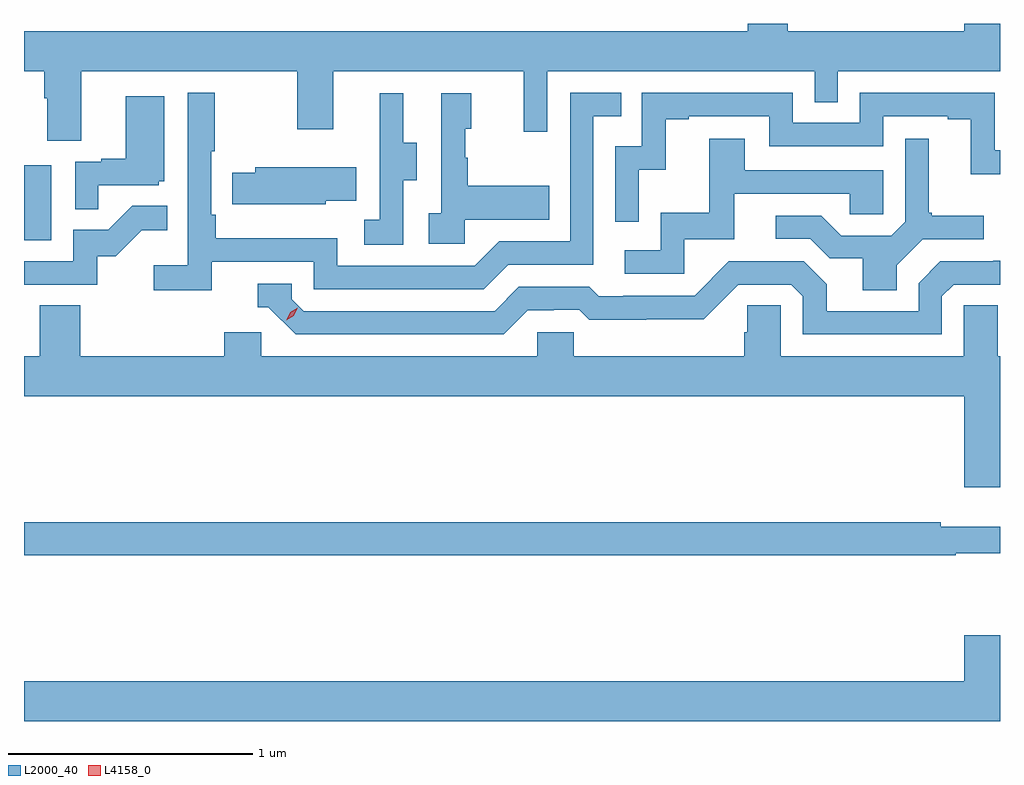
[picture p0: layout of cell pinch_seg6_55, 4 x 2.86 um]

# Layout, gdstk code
import gdstk
lib = gdstk.Library(unit=1e-6, precision=1e-09)
def R(c, l, rs):  # rectangles x0, y0, x1, y1
    for r in rs: c.add(gdstk.rectangle(r[:2], r[2:], *l))
def P(c, l, *ps):  # polygons
    for p in ps: c.add(gdstk.Polygon(p, *l))
L2000_40 = (2000, 40)
L4158_0 = (4158, 0)

pinch_seg6_55 = lib.new_cell('pinch_seg6_55')
R(pinch_seg6_55, L2000_40, [(964.35,938.652,964.462,938.959)])
P(pinch_seg6_55, L2000_40, [(964.585,939.344),(965.47,939.344),(965.47,939.105),(965.617,939.105),(965.617,939.344),(966.398,939.344),(966.398,939.096),(966.495,939.096),(966.495,939.344),(967.59,939.344),(967.59,939.217),(967.686,939.217),(967.686,939.344),(968.35,939.344),(968.35,939.538),(968.204,939.538),(968.204,939.508),(967.48,939.508),(967.48,939.538),(967.316,939.538),(967.316,939.508),(964.35,939.508),(964.35,939.344),(964.433,939.344),(964.433,939.232),(964.445,939.232),(964.445,939.058),(964.585,939.058)],
  [(965.12,938.562),(965.538,938.562),(965.538,938.451),(966.235,938.451),(966.334,938.55),(966.684,938.55),(966.684,939.159),(966.797,939.159),(966.797,939.255),(966.588,939.255),(966.588,938.646),(966.297,938.646),(966.198,938.547),(965.634,938.547),(965.634,938.659),(965.135,938.659),(965.135,938.755),(965.118,938.755),(965.118,939.016),(965.131,939.016),(965.131,939.256),(965.022,939.256),(965.022,938.548),(964.881,938.548),(964.881,938.446),(965.12,938.446)],
  [(966.87,938.939),(966.98,938.939),(966.98,939.147),(967.075,939.147),(967.075,939.159),(967.404,939.159),(967.404,939.036),(967.872,939.036),(967.872,939.159),(968.135,939.159),(968.135,939.147),(968.231,939.147),(968.231,938.921),(968.35,938.921),(968.35,939.019),(968.328,939.019),(968.328,939.255),(967.776,939.255),(967.776,939.132),(967.5,939.132),(967.5,939.255),(966.882,939.255),(966.882,939.036),(966.774,939.036),(966.774,938.727),(966.87,938.727)],
  [(965.904,938.896),(965.959,938.896),(965.959,939.051),(965.905,939.051),(965.905,939.253),(965.807,939.253),(965.807,939.039),(965.808,939.039),(965.808,938.735),(965.745,938.735),(965.745,938.632),(965.904,938.632)],
  [(966.156,938.735),(966.503,938.735),(966.503,938.875),(966.169,938.875),(966.169,938.99),(966.159,938.99),(966.159,939.108),(966.184,939.108),(966.184,939.253),(966.06,939.253),(966.06,938.762),(966.009,938.762),(966.009,938.637),(966.156,938.637)],
  [(964.655,938.877),(964.902,938.877),(964.902,938.892),(964.924,938.892),(964.924,939.241),(964.766,939.241),(964.766,938.986),(964.667,938.986),(964.667,938.973),(964.56,938.973),(964.56,938.779),(964.655,938.779)],
  [(967.927,938.548),(968.034,938.655),(968.284,938.655),(968.284,938.752),(968.071,938.752),(968.071,938.764),(968.059,938.764),(968.059,939.067),(967.962,939.067),(967.962,938.727),(967.905,938.67),(967.699,938.67),(967.618,938.751),(967.431,938.751),(967.431,938.658),(967.572,938.658),(967.652,938.578),(967.787,938.578),(967.787,938.446),(967.927,938.446)],
  [(967.056,938.655),(967.261,938.655),(967.261,938.841),(967.735,938.841),(967.735,938.757),(967.872,938.757),(967.872,938.937),(967.303,938.937),(967.303,939.067),(967.159,939.067),(967.159,938.764),(966.96,938.764),(966.96,938.61),(966.813,938.61),(966.813,938.514),(967.056,938.514)],
  [(965.586,938.813),(965.711,938.813),(965.711,938.95),(965.297,938.95),(965.297,938.928),(965.203,938.928),(965.203,938.799),(965.314,938.799),(965.314,938.798),(965.586,938.798)],
  [(964.65,938.586),(964.726,938.586),(964.833,938.693),(964.937,938.693),(964.937,938.792),(964.793,938.792),(964.695,938.694),(964.551,938.694),(964.551,938.565),(964.35,938.565),(964.35,938.469),(964.65,938.469)],
  [(966.415,938.364),(966.522,938.364),(966.522,938.367),(966.625,938.367),(966.667,938.325),(966.9,938.325),(966.9,938.327),(967.136,938.327),(967.278,938.469),(967.494,938.469),(967.542,938.421),(967.542,938.265),(968.112,938.265),(968.112,938.421),(968.16,938.469),(968.35,938.469),(968.35,938.567),(968.322,938.567),(968.322,938.565),(968.106,938.565),(968.016,938.475),(968.016,938.361),(967.639,938.361),(967.639,938.471),(967.545,938.565),(967.239,938.565),(967.098,938.424),(966.805,938.424),(966.805,938.421),(966.706,938.421),(966.667,938.46),(966.378,938.46),(966.279,938.361),(965.496,938.361),(965.448,938.409),(965.448,938.472),(965.309,938.472),(965.309,938.376),(965.352,938.376),(965.463,938.265),(966.316,938.265)],
  [(968.35,938.176),(968.341,938.176),(968.341,938.384),(968.202,938.384),(968.202,938.176),(967.452,938.176),(967.452,938.384),(967.315,938.384),(967.315,938.274),(967.301,938.274),(967.301,938.176),(966.603,938.176),(966.603,938.274),(966.453,938.274),(966.453,938.176),(965.322,938.176),(965.322,938.274),(965.171,938.274),(965.171,938.176),(964.58,938.176),(964.58,938.384),(964.415,938.384),(964.415,938.176),(964.35,938.176),(964.35,938.012),(968.204,938.012),(968.204,937.638),(968.35,937.638)],
  [(968.168,937.368),(968.35,937.368),(968.35,937.477),(968.108,937.477),(968.108,937.496),(964.35,937.496),(964.35,937.36),(968.168,937.36)],
  [(968.35,937.033),(968.204,937.033),(968.204,936.844),(964.35,936.844),(964.35,936.68),(968.35,936.68)])
P(pinch_seg6_55, L4158_0, [(965.425,938.323),(965.425,938.323),(965.441,938.356),(965.472,938.375),(965.472,938.375),(965.472,938.375),(965.456,938.342),(965.425,938.323)])

lib.write_gds('pinch_seg6_55.gds')
